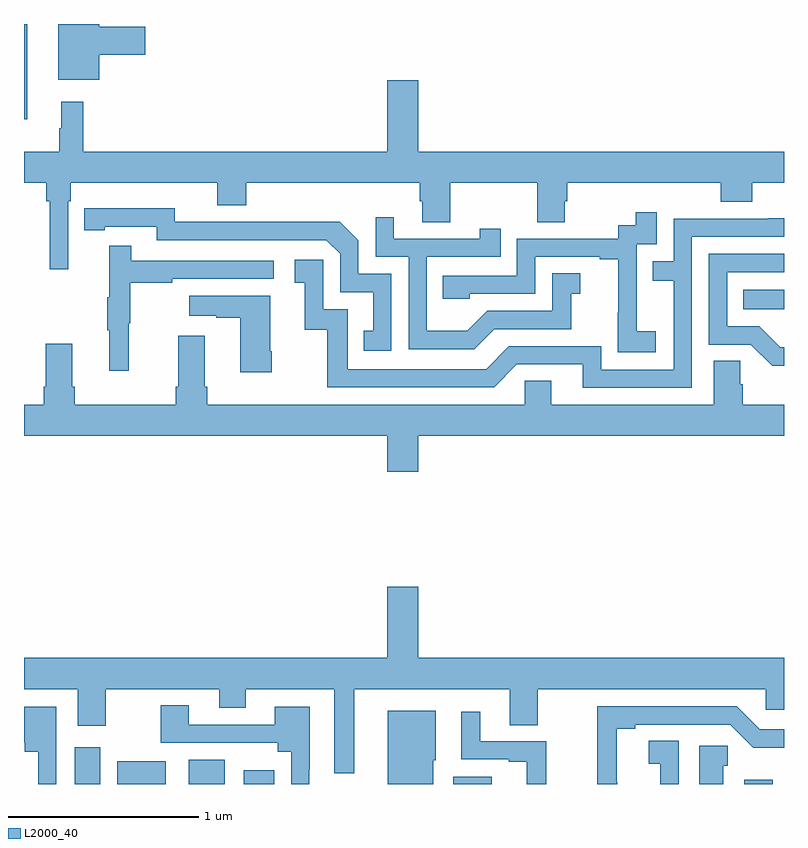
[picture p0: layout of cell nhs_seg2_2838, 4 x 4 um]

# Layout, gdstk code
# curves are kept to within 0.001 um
import gdstk
lib = gdstk.Library(unit=1e-6, precision=1e-09)
def R(c, l, rs):  # rectangles x0, y0, x1, y1
    for r in rs: c.add(gdstk.rectangle(r[:2], r[2:], *l))
def P(c, l, *ps):  # polygons
    for p in ps: c.add(gdstk.Polygon(p, *l))
L2000_40 = (2000, 40)

nhs_seg2_2838 = lib.new_cell('nhs_seg2_2838')
R(nhs_seg2_2838, L2000_40, [(259.268,649.8,259.402,649.993), (259.49,649.8,259.747,649.921), (259.868,649.8,260.056,649.927), (260.156,649.8,260.317,649.873), (261.26,649.8,261.463,649.837), (262.79,649.8,262.942,649.822), (262.786,652.298,263,652.402), (259,653.3,259.018,653.8)])
P(nhs_seg2_2838, L2000_40, [(259.396,653.639),(259.639,653.639),(259.639,653.786),(259.396,653.786),(259.396,653.8),(259.181,653.8),(259.181,653.507),(259.396,653.507)],
  [(259.233,652.868),(259.247,652.868),(259.247,652.964),(260.018,652.964),(260.018,652.847),(260.171,652.847),(260.171,652.964),(261.083,652.964),(261.083,652.866),(261.095,652.866),(261.095,652.756),(261.243,652.756),(261.243,652.964),(261.7,652.964),(261.7,652.756),(261.847,652.756),(261.847,652.866),(261.86,652.866),(261.86,652.964),(262.667,652.964),(262.667,652.865),(262.832,652.865),(262.832,652.964),(263,652.964),(263,653.128),(261.076,653.128),(261.076,653.503),(260.912,653.503),(260.912,653.128),(259.313,653.128),(259.313,653.392),(259.196,653.392),(259.196,653.252),(259.185,653.252),(259.185,653.128),(259,653.128),(259,652.964),(259.117,652.964),(259.117,652.868),(259.136,652.868),(259.136,652.509),(259.233,652.509)],
  [(260.934,652.485),(260.76,652.485),(260.76,652.662),(260.662,652.76),(260.254,652.76),(260.254,652.758),(259.794,652.758),(259.794,652.831),(259.318,652.83),(259.318,652.714),(259.426,652.714),(259.426,652.734),(259.698,652.734),(259.698,652.662),(260.592,652.662),(260.664,652.59),(260.664,652.389),(260.837,652.389),(260.837,652.185),(260.788,652.185),(260.788,652.08),(260.934,652.08)],
  [(262.324,652.183),(262.226,652.183),(262.226,652.412),(262.224,652.412),(262.224,652.641),(262.329,652.641),(262.329,652.81),(262.221,652.81),(262.221,652.74),(262.128,652.74),(262.128,652.671),(261.594,652.671),(261.594,652.476),(261.205,652.476),(261.205,652.353),(261.345,652.353),(261.345,652.38),(261.69,652.38),(261.69,652.575),(262.031,652.575),(262.031,652.563),(262.127,652.563),(262.127,652.279),(262.126,652.279),(262.126,652.073),(262.324,652.073)],
  [(261.475,652.194),(261.879,652.194),(261.879,652.379),(261.928,652.379),(261.928,652.489),(261.78,652.489),(261.78,652.29),(261.438,652.29),(261.334,652.186),(261.12,652.186),(261.12,652.575),(261.509,652.575),(261.509,652.723),(261.398,652.723),(261.398,652.671),(260.947,652.671),(260.947,652.783),(260.85,652.783),(260.85,652.575),(261.024,652.575),(261.024,652.089),(261.37,652.089)],
  [(262.515,652.68),(263,652.68),(263,652.778),(262.915,652.778),(262.915,652.776),(262.419,652.776),(262.419,652.551),(262.309,652.551),(262.309,652.45),(262.419,652.45),(262.419,651.981),(262.038,651.981),(262.038,652.104),(261.552,652.104),(261.432,651.984),(260.703,651.984),(260.703,652.299),(260.574,652.299),(260.574,652.558),(260.424,652.558),(260.424,652.437),(260.477,652.437),(260.477,652.191),(260.595,652.191),(260.595,651.888),(261.474,651.888),(261.594,652.008),(261.941,652.008),(261.941,651.885),(262.515,651.885)],
  [(259.55,652.224),(259.558,652.224),(259.558,652.438),(259.781,652.438),(259.781,652.458),(260.314,652.458),(260.314,652.554),(259.565,652.554),(259.565,652.633),(259.448,652.633),(259.448,652.361),(259.437,652.361),(259.437,652.187),(259.448,652.187),(259.448,651.975),(259.55,651.975)],
  [(263,652.098),(262.981,652.098),(262.87,652.209),(262.701,652.209),(262.701,652.494),(263,652.494),(263,652.59),(262.605,652.59),(262.605,652.113),(262.824,652.113),(262.937,652.001),(263,652.001)],
  [(260.304,652.078),(260.296,652.078),(260.296,652.369),(259.869,652.369),(259.869,652.265),(260.012,652.265),(260.012,652.255),(260.138,652.255),(260.138,651.966),(260.304,651.966)],
  [(261.076,651.632),(263,651.632),(263,651.796),(262.784,651.796),(262.784,651.905),(262.77,651.905),(262.77,652.028),(262.631,652.028),(262.631,651.796),(261.775,651.796),(261.775,651.923),(261.636,651.923),(261.636,651.796),(259.964,651.796),(259.964,651.892),(259.951,651.892),(259.951,652.159),(259.811,652.159),(259.811,651.892),(259.799,651.892),(259.799,651.796),(259.267,651.796),(259.267,651.892),(259.255,651.892),(259.255,652.117),(259.115,652.117),(259.115,651.892),(259.103,651.892),(259.103,651.796),(259,651.796),(259,651.632),(260.912,651.632),(260.912,651.444),(261.076,651.444)],
  [(260.737,650.3),(261.557,650.3),(261.557,650.11),(261.705,650.11),(261.705,650.3),(262.905,650.3),(262.905,650.19),(263,650.19),(263,650.464),(261.076,650.464),(261.076,650.839),(260.912,650.839),(260.912,650.464),(259,650.464),(259,650.3),(259.283,650.3),(259.283,650.106),(259.431,650.106),(259.431,650.3),(260.027,650.3),(260.027,650.201),(260.167,650.201),(260.167,650.3),(260.633,650.3),(260.633,649.856),(260.737,649.856)],
  [(260.502,649.874),(260.503,649.874),(260.503,650.206),(260.321,650.206),(260.321,650.112),(259.867,650.112),(259.867,650.215),(259.72,650.215),(259.72,650.016),(260.336,650.016),(260.336,649.97),(260.406,649.97),(260.406,649.8),(260.502,649.8)],
  [(262.122,649.809),(262.12,649.809),(262.12,650.092),(262.216,650.092),(262.216,650.112),(262.716,650.112),(262.837,649.991),(263,649.991),(263,650.088),(262.872,650.088),(262.752,650.208),(262.018,650.208),(262.018,649.8),(262.122,649.8)],
  [(259.17,650.206),(259,650.206),(259,650.016),(259.004,650.016),(259.004,649.97),(259.074,649.97),(259.074,649.8),(259.17,649.8)],
  [(261.154,649.926),(261.166,649.926),(261.166,650.185),(260.915,650.185),(260.915,649.8),(261.154,649.8)],
  [(261.749,650.025),(261.4,650.025),(261.4,650.179),(261.302,650.179),(261.302,649.929),(261.551,649.929),(261.551,649.917),(261.647,649.917),(261.647,649.8),(261.749,649.8)],
  [(262.446,650.027),(262.287,650.027),(262.287,649.907),(262.348,649.907),(262.348,649.8),(262.446,649.8)],
  [(262.681,649.896),(262.703,649.896),(262.703,650.002),(262.553,650.002),(262.553,649.8),(262.681,649.8)])

lib.write_gds('nhs_seg2_2838.gds')
